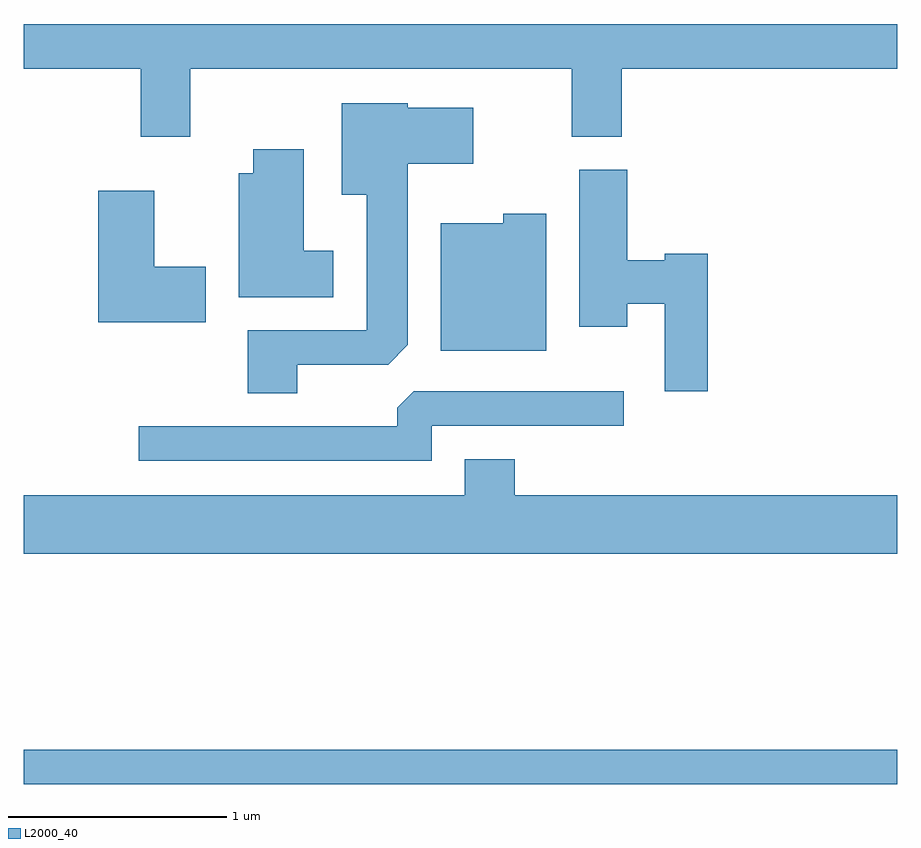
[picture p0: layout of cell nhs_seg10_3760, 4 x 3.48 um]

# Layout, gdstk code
import gdstk
lib = gdstk.Library(unit=1e-6, precision=1e-09)
def R(c, l, rs):  # rectangles x0, y0, x1, y1
    for r in rs: c.add(gdstk.rectangle(r[:2], r[2:], *l))
def P(c, l, *ps):  # polygons
    for p in ps: c.add(gdstk.Polygon(p, *l))
L2000_40 = (2000, 40)

nhs_seg10_3760 = lib.new_cell('nhs_seg10_3760')
R(nhs_seg10_3760, L2000_40, [(295.611,2155.041,299.611,2155.199)])
P(nhs_seg10_3760, L2000_40, [(296.374,2158.316),(298.121,2158.316),(298.121,2158.006),(298.349,2158.006),(298.349,2158.316),(299.611,2158.316),(299.611,2158.522),(295.611,2158.522),(295.611,2158.316),(296.146,2158.316),(296.146,2158.006),(296.374,2158.006)],
  [(296.864,2156.961),(297.279,2156.961),(297.369,2157.052),(297.369,2157.881),(297.669,2157.881),(297.669,2158.139),(297.369,2158.139),(297.369,2158.159),(297.066,2158.159),(297.066,2157.741),(297.181,2157.741),(297.181,2157.119),(296.636,2157.119),(296.636,2156.831),(296.864,2156.831)],
  [(297.029,2157.484),(296.894,2157.484),(296.894,2157.949),(296.661,2157.949),(296.661,2157.839),(296.596,2157.839),(296.596,2157.271),(297.029,2157.271)],
  [(298.744,2157.469),(298.546,2157.469),(298.546,2157.439),(298.374,2157.439),(298.374,2157.854),(298.156,2157.854),(298.156,2157.136),(298.374,2157.136),(298.374,2157.241),(298.546,2157.241),(298.546,2156.841),(298.744,2156.841)],
  [(296.444,2157.409),(296.209,2157.409),(296.209,2157.759),(295.951,2157.759),(295.951,2157.156),(296.444,2157.156)],
  [(298.004,2157.654),(297.806,2157.654),(297.806,2157.609),(297.521,2157.609),(297.521,2157.026),(298.004,2157.026)],
  [(297.479,2156.681),(298.358,2156.681),(298.358,2156.839),(297.397,2156.839),(297.321,2156.764),(297.321,2156.679),(296.138,2156.679),(296.138,2156.521),(297.479,2156.521)],
  [(299.611,2156.364),(297.859,2156.364),(297.859,2156.529),(297.631,2156.529),(297.631,2156.364),(295.611,2156.364),(295.611,2156.096),(299.611,2156.096)])

lib.write_gds('nhs_seg10_3760.gds')
